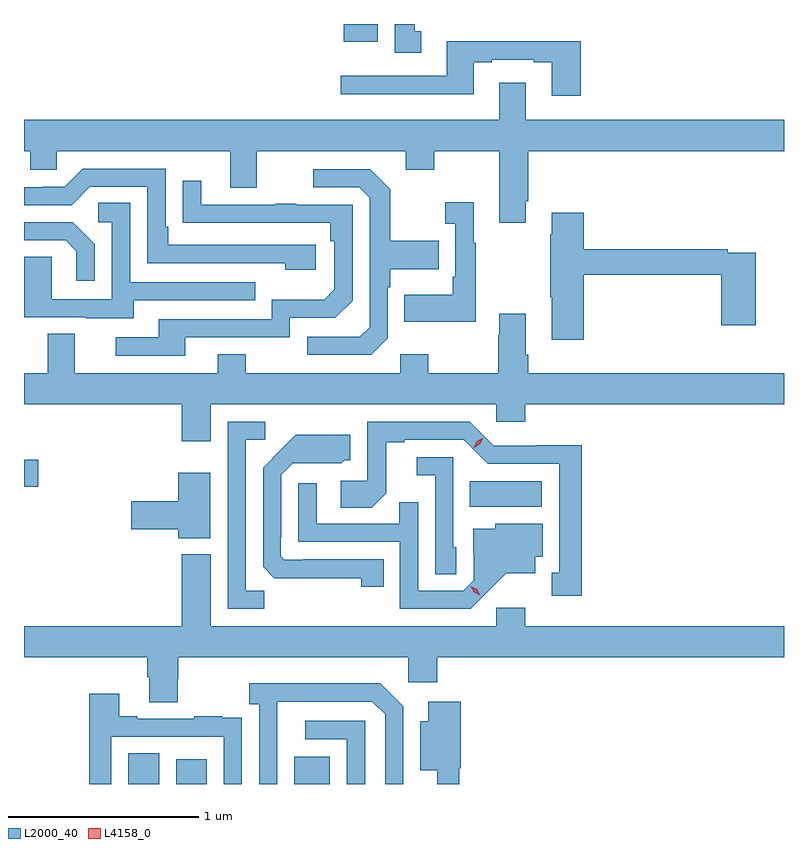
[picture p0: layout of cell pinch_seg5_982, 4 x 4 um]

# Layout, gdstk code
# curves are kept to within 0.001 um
import gdstk
lib = gdstk.Library(unit=1e-6, precision=1e-09)
def R(c, l, rs):  # rectangles x0, y0, x1, y1
    for r in rs: c.add(gdstk.rectangle(r[:2], r[2:], *l))
def P(c, l, *ps):  # polygons
    for p in ps: c.add(gdstk.Polygon(p, *l))
L2000_40 = (2000, 40)
L4158_0 = (4158, 0)

pinch_seg5_982 = lib.new_cell('pinch_seg5_982')
R(pinch_seg5_982, L2000_40, [(732.53,881.401,732.694,881.564), (732.782,881.401,732.943,881.53), (733.403,881.401,733.591,881.545), (734.326,882.86,734.707,882.994), (731.981,882.965,732.055,883.107), (733.664,885.308,733.843,885.401)])
P(pinch_seg5_982, L2000_40, [(734.071,885.362),(734.038,885.362),(734.038,885.401),(733.931,885.401),(733.931,885.249),(734.071,885.249)],
  [(734.912,885.31),(734.207,885.31),(734.207,885.129),(733.647,885.129),(733.647,885.032),(734.347,885.032),(734.347,885.201),(734.443,885.201),(734.443,885.213),(734.663,885.213),(734.663,885.201),(734.759,885.201),(734.759,885.024),(734.912,885.024)],
  [(734.623,884.467),(734.636,884.467),(734.636,884.732),(735.981,884.732),(735.981,884.896),(734.623,884.896),(734.623,885.091),(734.483,885.091),(734.483,884.896),(731.981,884.896),(731.981,884.732),(732.015,884.732),(732.015,884.634),(732.153,884.634),(732.153,884.732),(733.067,884.732),(733.067,884.538),(733.207,884.538),(733.207,884.732),(733.991,884.732),(733.991,884.633),(734.139,884.633),(734.139,884.732),(734.483,884.732),(734.483,884.355),(734.623,884.355)],
  [(733.516,884.238),(732.739,884.238),(732.739,884.335),(732.726,884.335),(732.726,884.64),(732.291,884.64),(732.195,884.544),(732.077,884.544),(732.077,884.541),(731.981,884.541),(731.981,884.448),(732.231,884.448),(732.327,884.544),(732.63,884.544),(732.63,884.142),(733.355,884.142),(733.355,884.108),(733.516,884.108)],
  [(733.896,883.746),(733.896,884.015),(733.909,884.015),(733.909,884.111),(734.165,884.111),(734.165,884.259),(733.909,884.259),(733.909,884.531),(733.803,884.637),(733.503,884.637),(733.503,884.541),(733.746,884.541),(733.8,884.487),(733.8,883.806),(733.749,883.755),(733.473,883.755),(733.473,883.659),(733.809,883.659)],
  [(732.829,883.752),(733.38,883.752),(733.38,883.854),(733.62,883.854),(733.71,883.944),(733.71,884.451),(733.415,884.451),(733.415,884.456),(733.303,884.456),(733.303,884.451),(732.913,884.451),(732.913,884.575),(732.817,884.575),(732.817,884.356),(733.594,884.355),(733.594,884.258),(733.614,884.258),(733.614,884.004),(733.561,883.951),(733.284,883.951),(733.284,883.848),(732.689,883.848),(732.689,883.752),(732.465,883.752),(732.465,883.656),(732.829,883.656)],
  [(734.359,884.251),(734.347,884.251),(734.347,884.464),(734.199,884.464),(734.199,884.351),(734.25,884.351),(734.25,884.071),(734.238,884.071),(734.238,883.975),(733.981,883.975),(733.981,883.835),(734.359,883.835)],
  [(732.559,883.947),(733.199,883.947),(733.199,884.043),(732.54,884.043),(732.54,884.459),(732.372,884.459),(732.372,884.358),(732.444,884.358),(732.444,883.953),(732.126,883.953),(732.126,884.177),(731.981,884.177),(731.981,883.857),(732.305,883.857),(732.305,883.853),(732.559,883.853)],
  [(734.927,884.08),(735.65,884.08),(735.65,883.815),(735.833,883.815),(735.833,884.196),(735.686,884.196),(735.686,884.216),(734.927,884.216),(734.927,884.407),(734.759,884.407),(734.759,884.294),(734.752,884.294),(734.752,883.963),(734.759,883.963),(734.759,883.74),(734.927,883.74)],
  [(732.354,884.242),(732.238,884.358),(731.981,884.358),(731.981,884.262),(732.2,884.262),(732.257,884.205),(732.257,884.049),(732.354,884.049)],
  [(732.964,883.4),(734.466,883.4),(734.466,883.307),(734.618,883.307),(734.618,883.4),(735.981,883.4),(735.981,883.564),(734.636,883.564),(734.636,883.66),(734.623,883.66),(734.623,883.876),(734.483,883.876),(734.483,883.763),(734.476,883.763),(734.476,883.564),(734.109,883.564),(734.109,883.663),(733.962,883.663),(733.962,883.564),(733.149,883.564),(733.149,883.663),(733.001,883.663),(733.001,883.564),(732.247,883.564),(732.247,883.772),(732.107,883.772),(732.107,883.564),(731.981,883.564),(731.981,883.4),(732.812,883.4),(732.812,883.206),(732.964,883.206)],
  [(734.917,883.184),(734.676,883.184),(734.676,883.182),(734.454,883.182),(734.328,883.308),(733.788,883.308),(733.788,882.996),(733.647,882.996),(733.647,882.856),(733.811,882.856),(733.887,882.932),(733.887,883.2),(733.981,883.2),(733.981,883.212),(734.295,883.212),(734.421,883.086),(734.798,883.086),(734.798,882.513),(734.759,882.513),(734.759,882.393),(734.917,882.393)],
  [(733.245,882.419),(733.149,882.419),(733.149,883.212),(733.252,883.212),(733.252,883.308),(733.053,883.308),(733.053,882.324),(733.245,882.324)],
  [(733.874,882.585),(733.45,882.585),(733.45,882.582),(733.35,882.582),(733.332,882.6),(733.332,882.7),(733.335,882.7),(733.335,883.029),(733.395,883.089),(733.652,883.088),(733.668,883.104),(733.699,883.104),(733.699,883.24),(733.411,883.24),(733.239,883.066),(733.239,882.544),(733.298,882.485),(733.756,882.484),(733.756,882.438),(733.874,882.438)],
  [(734.256,882.648),(734.241,882.648),(734.241,883.122),(734.049,883.122),(734.049,883.025),(734.145,883.025),(734.145,882.505),(734.256,882.505)],
  [(732.961,883.039),(732.794,883.039),(732.794,882.89),(732.546,882.89),(732.546,882.743),(732.794,882.743),(732.794,882.695),(732.961,882.695)],
  [(734.416,882.407),(734.519,882.509),(734.671,882.509),(734.671,882.596),(734.71,882.596),(734.71,882.772),(734.46,882.772),(734.46,882.745),(734.345,882.745),(734.345,882.616),(734.349,882.616),(734.349,882.474),(734.292,882.417),(734.055,882.417),(734.055,882.884),(733.957,882.884),(733.957,882.771),(733.521,882.771),(733.521,882.985),(733.425,882.985),(733.425,882.675),(733.959,882.675),(733.959,882.324),(734.332,882.324)],
  [(732.789,881.955),(732.794,881.955),(732.794,882.068),(734.004,882.068),(734.004,881.937),(734.156,881.937),(734.156,882.068),(735.981,882.068),(735.981,882.232),(734.618,882.232),(734.618,882.328),(734.466,882.328),(734.466,882.232),(732.964,882.232),(732.964,882.61),(732.812,882.61),(732.812,882.232),(731.981,882.232),(731.981,882.068),(732.629,882.068),(732.629,881.962),(732.641,881.962),(732.641,881.83),(732.789,881.83)],
  [(733.314,881.835),(733.815,881.835),(733.881,881.769),(733.881,881.401),(733.977,881.401),(733.977,881.811),(733.856,881.932),(733.167,881.932),(733.167,881.822),(733.218,881.822),(733.218,881.401),(733.314,881.401)],
  [(732.441,881.649),(733.032,881.649),(733.032,881.401),(733.128,881.401),(733.128,881.642),(733.127,881.642),(733.127,881.751),(733.025,881.751),(733.025,881.758),(732.877,881.758),(732.877,881.745),(732.577,881.745),(732.577,881.758),(732.481,881.758),(732.481,881.875),(732.325,881.875),(732.325,881.401),(732.441,881.401)],
  [(734.273,881.484),(734.279,881.484),(734.279,881.833),(734.108,881.833),(734.108,881.731),(734.066,881.731),(734.066,881.474),(734.156,881.474),(734.156,881.401),(734.273,881.401)],
  [(733.776,881.733),(733.461,881.733),(733.461,881.637),(733.68,881.637),(733.68,881.401),(733.776,881.401)])
P(pinch_seg5_982, L4158_0, [(734.38,882.395),(734.35,882.411),(734.333,882.441),(734.333,882.441),(734.333,882.441),(734.364,882.426),(734.38,882.396),(734.38,882.395)],
  [(734.349,883.171),(734.349,883.171),(734.366,883.204),(734.397,883.224),(734.398,883.224),(734.398,883.223),(734.381,883.191),(734.35,883.171)])

lib.write_gds('pinch_seg5_982.gds')
